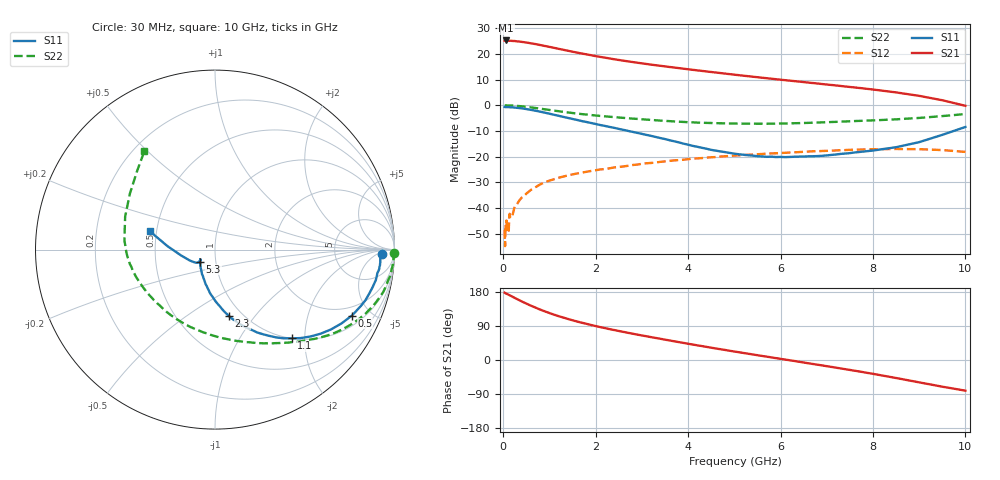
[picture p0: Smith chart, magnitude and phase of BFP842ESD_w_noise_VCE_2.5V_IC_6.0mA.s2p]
! Infineon Technologies  Discrete & RF Semiconductors
! BFP842ESD
! VCE =  2.5 V,  IC =  6.0 mA
! Common Emitter S-Parameters:  May 2012
# GHz  S  MA  R  50
!  f  S11  S21  S12  S22
! GHz  MAG  ANG  MAG  ANG  MAG  ANG  MAG  ANG
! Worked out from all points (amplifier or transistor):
!   99 points, 30 MHz to 10 GHz, reference 50 ohm
!   highest |S21| = 25.3 dB at 60 MHz (marker M1)
!   |S21| within 3 dB of that: start of sweep to 1.131 GHz
!   unconditionally stable (mu >= 1): 3.45 GHz to end of sweep
!   at 350 MHz: K = 0.20, MSG = 30.9 dB, |S12| = -37.0 dB
!   at 3.5 GHz: K = 1.01, MAG = 18.0 dB, |S12| = -21.9 dB
!   at 10 GHz: K = 1.92, MAG = 3.5 dB, |S12| = -18.2 dB
!   lowest NFmin = 0.46 dB at 450 MHz
!   S11 on the Smith chart (normalised r, x): 30 MHz: 24, -9; 500 MHz: 1.48, -3.83; 1.1 GHz: 1.00, -1.73; 2.3 GHz: 0.87, -0.75; 5.3 GHz: 0.84, -0.11; 10 GHz: 0.46, +0.11
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0.03  0.9294 -1.6  18.25 177.7  0.0037 23.8  1 -1.0
0.04  0.9255 -2.1  18.2 176.9  0.0018 46.9  0.9972 -1.2
0.05  0.9216 -2.6  18.08 176.0  0.0047 130.1  0.9915 -1.8
0.06  0.9233 -3.4  18.37 175.5  0.0037 127.6  0.999 -2.3
0.09  0.9231 -4.9  17.98 174.0  0.0054 99.6  0.9931 -3.7
0.11  0.9211 -6.1  18.27 172.5  0.0043 111.2  0.9921 -4.4
0.25  0.9028 -13.4  17.91 163.8  0.0108 80.6  0.979 -10.2
0.5  0.8461 -25.8  16.77 148.9  0.019 71.5  0.9334 -19.8
0.6  0.8158 -30.3  16.15 143.3  0.0225 70.9  0.9111 -23.1
0.8  0.7516 -38.6  14.96 133.0  0.0288 65.6  0.861 -29.3
1.1  0.6543 -49.1  13.19 119.6  0.0363 58.1  0.7891 -37.3
1.4  0.5681 -57.8  11.58 108.3  0.043 53.1  0.7258 -43.8
1.7  0.4932 -65.3  10.22 98.4  0.0487 48.8  0.6743 -49.7
2.3  0.3793 -78.0  8.194 81.5  0.0592 42.6  0.5995 -60.5
2.9  0.2907 -89.0  6.766 67.0  0.0701 36.6  0.5436 -71.7
3.4  0.2301 -98.6  5.887 56.0  0.0792 31.8  0.5039 -82.0
4.2  0.1556 -117.7  4.798 38.7  0.0925 22.8  0.4609 -100.5
5.1  0.1112 -138.0  3.868 20.5  0.1061 12.2  0.4401 -121.5
5.3  0.1066 -141.0  3.694 16.5  0.1088 9.7  0.4395 -125.9
6.7  0.1019 -144.5  2.718 -10.5  0.1271 -7.9  0.4583 -156.8
8.5  0.1525 -156.3  1.785 -47.5  0.141 -36.8  0.5334 159.8
10  0.3785 164.2  0.979 -80.9  0.1237 -67.2  0.6765 125.5
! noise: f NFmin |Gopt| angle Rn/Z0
0.45  0.46  0.3  2  0.12
0.9  0.48  0.31  9  0.11
1.5  0.5  0.34  19  0.11
1.9  0.52  0.33  26  0.1
2.4  0.54  0.29  39  0.1
3.5  0.64  0.21  81  0.08
4  0.68  0.17  104  0.08
5  0.73  0.17  122  0.07
5.5  0.84  0.16  147  0.08
6  0.97  0.14  161  0.08
